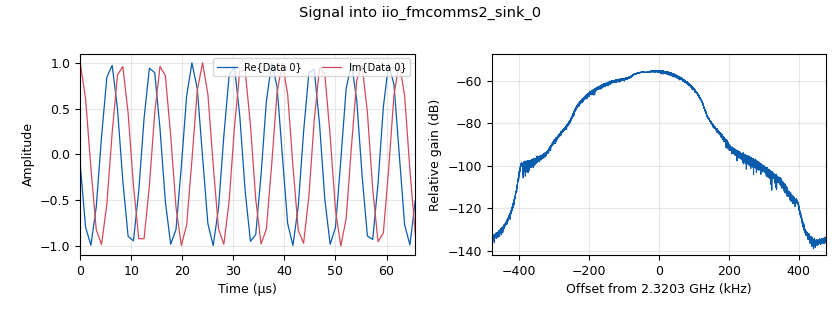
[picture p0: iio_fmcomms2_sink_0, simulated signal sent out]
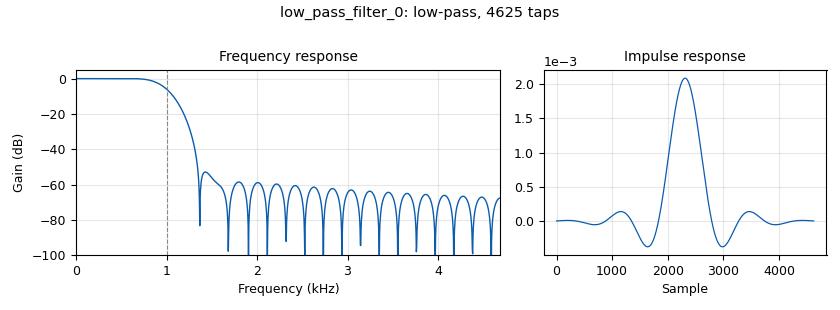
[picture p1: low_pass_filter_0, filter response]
options:
  parameters:
    author: hennichodernich
    generate_options: qt_gui
    id: pluto_2rx_radar
    output_language: python
    title: Pluto 2xRx Radar PoC
  states: {}

blocks:
- name: LO
  id: variable
  parameters:
    value: '2320300000'
  states: {}
- name: gain1
  id: variable_qtgui_range
  parameters:
    gui_hint: 0,0,1,1
    label: Rx Gain
    start: '0'
    step: '1'
    stop: '64'
    value: '46'
  states: {}
- name: gain2
  id: variable_qtgui_range
  parameters:
    gui_hint: 1,0,1,1
    label: Ref Gain
    start: '0'
    step: '1'
    stop: '64'
    value: '0'
  states: {}
- name: samp_rate
  id: variable
  parameters:
    value: '960000'
  states: {}
- name: analog_frequency_modulator_fc_0
  id: analog_frequency_modulator_fc
  parameters:
    sensitivity: 2*math.pi*800e3/samp_rate
  states: {}
- name: analog_quadrature_demod_cf_0
  id: analog_quadrature_demod_cf
  parameters:
    gain: samp_rate/200/(2*math.pi*400e3)
  states: {}
- name: analog_sig_source_x_0
  id: analog_sig_source_x
  parameters:
    amp: '1'
    freq: '100'
    offset: '-0.5'
    phase: '0'
    samp_rate: samp_rate
    type: float
    waveform: analog.GR_TRI_WAVE
  states: {}
- name: blocks_complex_to_arg_0
  id: blocks_complex_to_arg
  parameters: {}
  states: {}
- name: blocks_complex_to_float_0
  id: blocks_complex_to_float
  parameters: {}
  states: {}
- name: blocks_complex_to_float_0_0
  id: blocks_complex_to_float
  parameters: {}
  states: {}
- name: blocks_file_sink_0
  id: blocks_file_sink
  parameters:
    file: mixerout.iq
    type: complex
  states: {state: disabled}
- name: blocks_float_to_complex_0
  id: blocks_float_to_complex
  parameters: {}
  states: {}
- name: blocks_moving_average_xx_0
  id: blocks_moving_average_xx
  parameters:
    length: '1000'
    max_iter: '4000'
    scale: '0.001'
    type: float
  states: {}
- name: blocks_multiply_conjugate_cc_0
  id: blocks_multiply_conjugate_cc
  parameters: {}
  states: {}
- name: hnch_sliding_maximum_0
  id: hnch_sliding_maximum
  parameters:
    length: '1000'
  states: {}
- name: iio_fmcomms2_sink_0
  id: iio_fmcomms2_sink
  parameters:
    auto_filter: 'True'
    bandwidth: '20000000'
    buffer_size: '32768'
    cyclic: 'False'
    frequency: int(LO)
    rf_port_select: '''A'''
    samplerate: '960000'
    tx1_en: 'True'
    tx2_en: 'False'
    uri: ip:192.168.2.1
  states: {}
- name: iio_fmcomms2_source_0
  id: iio_fmcomms2_source
  parameters:
    auto_filter: 'True'
    bandwidth: '20000000'
    bbdc: 'True'
    buffer_size: '32768'
    frequency: int(LO)
    gain1: '''fast_attack'''
    gain2: '''fast_attack'''
    quadrature: 'True'
    rf_port_select: '''A_BALANCED'''
    rfdc: 'True'
    rx1_en: 'True'
    rx2_en: 'True'
    samplerate: samp_rate
    uri: ip:192.168.2.1
  states: {}
- name: import_0
  id: import
  parameters:
    imports: import math
  states: {}
- name: low_pass_filter_0
  id: low_pass_filter
  parameters:
    cutoff_freq: 1e3
    decim: '200'
    gain: '1'
    samp_rate: samp_rate
    type: fir_filter_ccf
    width: '500'
    win: window.WIN_HAMMING
  states: {}
- name: qtgui_const_sink_x_0
  id: qtgui_const_sink_x
  parameters:
    grid: 'True'
    gui_hint: 2,1,2,1
    size: '1024'
    type: complex
    xmax: '1'
    xmin: '-1'
    ymax: '1'
    ymin: '-1'
  states: {}
- name: qtgui_freq_sink_x_0
  id: qtgui_freq_sink_x
  parameters:
    bw: samp_rate
    fc: LO
    fftsize: '1024'
    gui_hint: 2,0,1,1
    name: Rx
    type: complex
  states: {}
- name: qtgui_freq_sink_x_0_0
  id: qtgui_freq_sink_x
  parameters:
    bw: samp_rate
    fc: LO
    fftsize: '1024'
    gui_hint: 3,0,1,1
    name: Ref
    type: complex
  states: {}
- name: qtgui_number_sink_0
  id: qtgui_number_sink
  parameters:
    autoscale: 'True'
    graph_type: qtgui.NUM_GRAPH_HORIZ
    gui_hint: 5,1,1,1
    type: float
  states: {}
- name: qtgui_number_sink_0_0
  id: qtgui_number_sink
  parameters:
    graph_type: qtgui.NUM_GRAPH_HORIZ
    gui_hint: 4,1,1,1
    max: '3.14'
    min: '-3.14'
    type: float
  states: {}
- name: qtgui_time_sink_x_0
  id: qtgui_time_sink_x
  parameters:
    gui_hint: 0,1,2,1
    nconnections: '2'
    size: '1024'
    srate: samp_rate
    type: float
  states: {}
- name: qtgui_time_sink_x_1
  id: qtgui_time_sink_x
  parameters:
    entags: 'False'
    gui_hint: 4,0,2,1
    size: '328'
    srate: samp_rate/200
    type: complex
  states: {}

connections:
- [analog_frequency_modulator_fc_0, '0', iio_fmcomms2_sink_0, '0']
- [analog_quadrature_demod_cf_0, '0', hnch_sliding_maximum_0, '0']
- [analog_sig_source_x_0, '0', analog_frequency_modulator_fc_0, '0']
- [blocks_complex_to_arg_0, '0', blocks_moving_average_xx_0, '0']
- [blocks_complex_to_float_0, '0', blocks_float_to_complex_0, '0']
- [blocks_complex_to_float_0, '0', qtgui_time_sink_x_0, '0']
- [blocks_complex_to_float_0_0, '0', blocks_float_to_complex_0, '1']
- [blocks_complex_to_float_0_0, '0', qtgui_time_sink_x_0, '1']
- [blocks_float_to_complex_0, '0', qtgui_const_sink_x_0, '0']
- [blocks_moving_average_xx_0, '0', qtgui_number_sink_0_0, '0']
- [blocks_multiply_conjugate_cc_0, '0', blocks_file_sink_0, '0']
- [blocks_multiply_conjugate_cc_0, '0', low_pass_filter_0, '0']
- [hnch_sliding_maximum_0, '0', qtgui_number_sink_0, '0']
- [iio_fmcomms2_source_0, '0', blocks_complex_to_float_0, '0']
- [iio_fmcomms2_source_0, '0', blocks_multiply_conjugate_cc_0, '0']
- [iio_fmcomms2_source_0, '0', qtgui_freq_sink_x_0, '0']
- [iio_fmcomms2_source_0, '1', blocks_complex_to_float_0_0, '0']
- [iio_fmcomms2_source_0, '1', blocks_multiply_conjugate_cc_0, '1']
- [iio_fmcomms2_source_0, '1', qtgui_freq_sink_x_0_0, '0']
- [low_pass_filter_0, '0', analog_quadrature_demod_cf_0, '0']
- [low_pass_filter_0, '0', blocks_complex_to_arg_0, '0']
- [low_pass_filter_0, '0', qtgui_time_sink_x_1, '0']

metadata:
  file_format: 1
